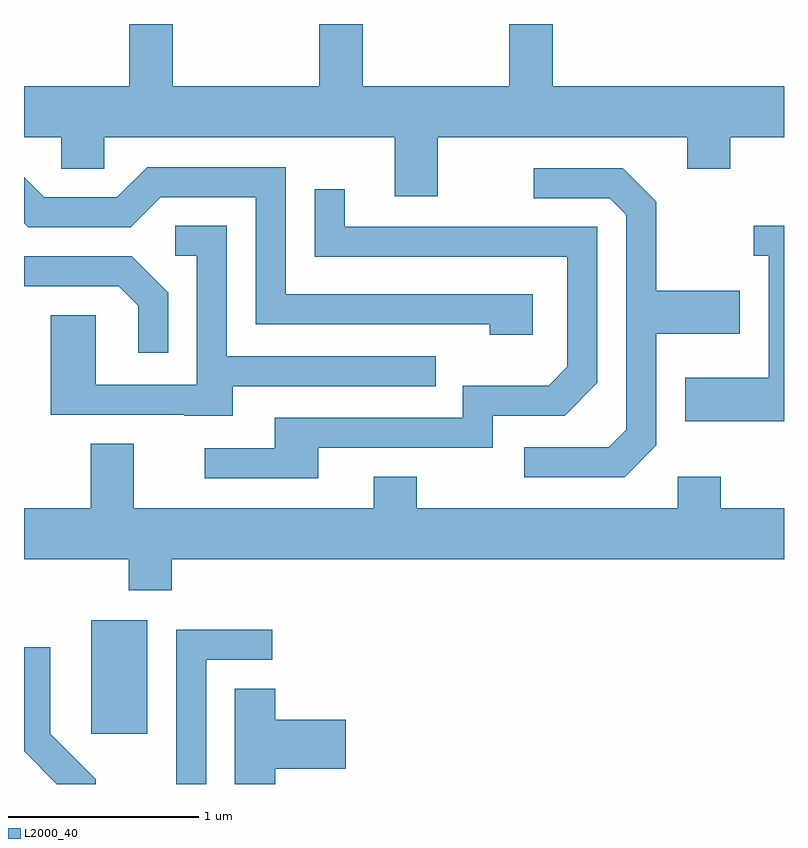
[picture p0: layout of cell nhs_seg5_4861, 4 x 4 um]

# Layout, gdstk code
import gdstk
lib = gdstk.Library(unit=1e-6, precision=1e-09)
def R(c, l, rs):  # rectangles x0, y0, x1, y1
    for r in rs: c.add(gdstk.rectangle(r[:2], r[2:], *l))
def P(c, l, *ps):  # polygons
    for p in ps: c.add(gdstk.Polygon(p, *l))
L2000_40 = (2000, 40)

nhs_seg5_4861 = lib.new_cell('nhs_seg5_4861')
R(nhs_seg5_4861, L2000_40, [(329.966,1440.336,330.259,1440.934)])
P(nhs_seg5_4861, L2000_40, [(331.789,1443.476),(333.101,1443.476),(333.101,1443.311),(333.329,1443.311),(333.329,1443.476),(333.611,1443.476),(333.611,1443.744),(332.394,1443.744),(332.394,1444.072),(332.166,1444.072),(332.166,1443.744),(331.394,1443.744),(331.394,1444.072),(331.166,1444.072),(331.166,1443.744),(330.394,1443.744),(330.394,1444.072),(330.166,1444.072),(330.166,1443.744),(329.611,1443.744),(329.611,1443.476),(329.806,1443.476),(329.806,1443.311),(330.034,1443.311),(330.034,1443.476),(331.561,1443.476),(331.561,1443.166),(331.789,1443.166)],
  [(332.289,1442.649),(330.989,1442.649),(330.989,1443.319),(330.259,1443.319),(330.099,1443.159),(329.717,1443.159),(329.611,1443.265),(329.611,1443.024),(329.634,1443.001),(330.172,1443.001),(330.332,1443.161),(330.831,1443.161),(330.831,1442.491),(332.061,1442.491),(332.061,1442.436),(332.289,1442.436)],
  [(332.939,1441.854),(332.939,1442.441),(333.379,1442.441),(333.379,1442.669),(332.939,1442.669),(332.939,1443.137),(332.762,1443.314),(332.293,1443.314),(332.293,1443.156),(332.694,1443.156),(332.781,1443.069),(332.781,1441.937),(332.689,1441.844),(332.243,1441.844),(332.243,1441.686),(332.772,1441.686)],
  [(331.159,1441.841),(332.079,1441.841),(332.079,1442.011),(332.457,1442.011),(332.629,1442.184),(332.629,1443.004),(331.299,1443.004),(331.299,1443.203),(331.141,1443.203),(331.141,1442.846),(332.471,1442.846),(332.471,1442.267),(332.374,1442.169),(331.921,1442.169),(331.921,1441.999),(330.931,1441.999),(330.931,1441.839),(330.563,1441.839),(330.563,1441.681),(331.159,1441.681)],
  [(330.709,1442.166),(331.778,1442.166),(331.778,1442.324),(330.679,1442.324),(330.679,1443.009),(330.408,1443.009),(330.408,1442.851),(330.521,1442.851),(330.521,1442.174),(329.989,1442.174),(329.989,1442.539),(329.751,1442.539),(329.751,1442.016),(330.455,1442.016),(330.455,1442.011),(330.709,1442.011)],
  [(333.611,1443.009),(333.453,1443.009),(333.453,1442.851),(333.531,1442.851),(333.531,1442.209),(333.091,1442.209),(333.091,1441.981),(333.611,1441.981)],
  [(330.369,1442.657),(330.177,1442.849),(329.611,1442.849),(329.611,1442.691),(330.109,1442.691),(330.211,1442.589),(330.211,1442.343),(330.369,1442.343)],
  [(330.389,1441.256),(333.611,1441.256),(333.611,1441.524),(333.279,1441.524),(333.279,1441.689),(333.051,1441.689),(333.051,1441.524),(331.679,1441.524),(331.679,1441.689),(331.451,1441.689),(331.451,1441.524),(330.189,1441.524),(330.189,1441.864),(329.961,1441.864),(329.961,1441.524),(329.611,1441.524),(329.611,1441.256),(330.161,1441.256),(330.161,1441.091),(330.389,1441.091)],
  [(330.569,1440.726),(330.918,1440.726),(330.918,1440.884),(330.411,1440.884),(330.411,1440.072),(330.569,1440.072)],
  [(329.989,1440.097),(329.749,1440.337),(329.749,1440.793),(329.611,1440.793),(329.611,1440.244),(329.783,1440.072),(329.989,1440.072)],
  [(330.934,1440.151),(331.304,1440.151),(331.304,1440.409),(330.934,1440.409),(330.934,1440.574),(330.721,1440.574),(330.721,1440.072),(330.934,1440.072)])

lib.write_gds('nhs_seg5_4861.gds')
